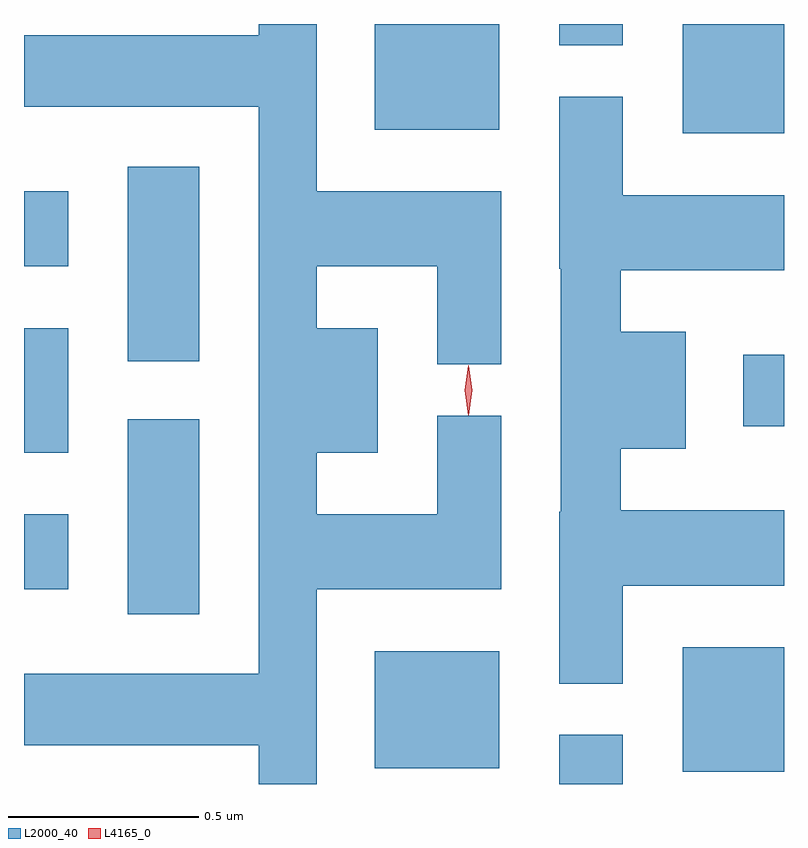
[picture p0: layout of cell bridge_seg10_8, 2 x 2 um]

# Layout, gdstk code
import gdstk
lib = gdstk.Library(unit=1e-6, precision=1e-09)
def R(c, l, rs):  # rectangles x0, y0, x1, y1
    for r in rs: c.add(gdstk.rectangle(r[:2], r[2:], *l))
def P(c, l, *ps):  # polygons
    for p in ps: c.add(gdstk.Polygon(p, *l))
L2000_40 = (2000, 40)
L4165_0 = (4165, 0)

bridge_seg10_8 = lib.new_cell('bridge_seg10_8')
R(bridge_seg10_8, L2000_40, [(1913.031,2166.454,1913.199,2166.583), (1913.356,2166.486,1913.623,2166.814), (1912.546,2166.496,1912.874,2166.804), (1911.896,2166.901,1912.084,2167.414), (1911.623,2166.966,1911.739,2167.164), (1911.623,2167.326,1911.739,2167.654), (1913.516,2167.396,1913.623,2167.584), (1911.896,2167.566,1912.084,2168.079), (1911.623,2167.816,1911.739,2168.014), (1913.356,2168.166,1913.623,2168.454), (1912.546,2168.176,1912.874,2168.454), (1913.031,2168.398,1913.199,2168.454)])
P(bridge_seg10_8, L2000_40, [(1911.623,2166.744),(1911.623,2166.556),(1912.241,2166.556),(1912.241,2166.454),(1912.394,2166.454),(1912.394,2166.966),(1912.879,2166.966),(1912.879,2167.423),(1912.711,2167.423),(1912.711,2167.164),(1912.394,2167.164),(1912.394,2167.326),(1912.554,2167.326),(1912.554,2167.654),(1912.394,2167.654),(1912.394,2167.816),(1912.711,2167.816),(1912.711,2167.558),(1912.879,2167.558),(1912.879,2168.014),(1912.394,2168.014),(1912.394,2168.454),(1912.241,2168.454),(1912.241,2168.424),(1911.623,2168.424),(1911.623,2168.236),(1912.241,2168.236),(1912.241,2166.744)],
  [(1913.199,2166.976),(1913.623,2166.976),(1913.623,2167.174),(1913.194,2167.174),(1913.194,2167.336),(1913.364,2167.336),(1913.364,2167.644),(1913.194,2167.644),(1913.194,2167.806),(1913.623,2167.806),(1913.623,2168.004),(1913.199,2168.004),(1913.199,2168.263),(1913.031,2168.263),(1913.031,2167.81),(1913.036,2167.81),(1913.036,2167.17),(1913.031,2167.17),(1913.031,2166.718),(1913.199,2166.718)])
P(bridge_seg10_8, L4165_0, [(1912.793,2167.424),(1912.792,2167.425),(1912.783,2167.49),(1912.792,2167.555),(1912.793,2167.556),(1912.793,2167.555),(1912.803,2167.49),(1912.793,2167.425)])

lib.write_gds('bridge_seg10_8.gds')
